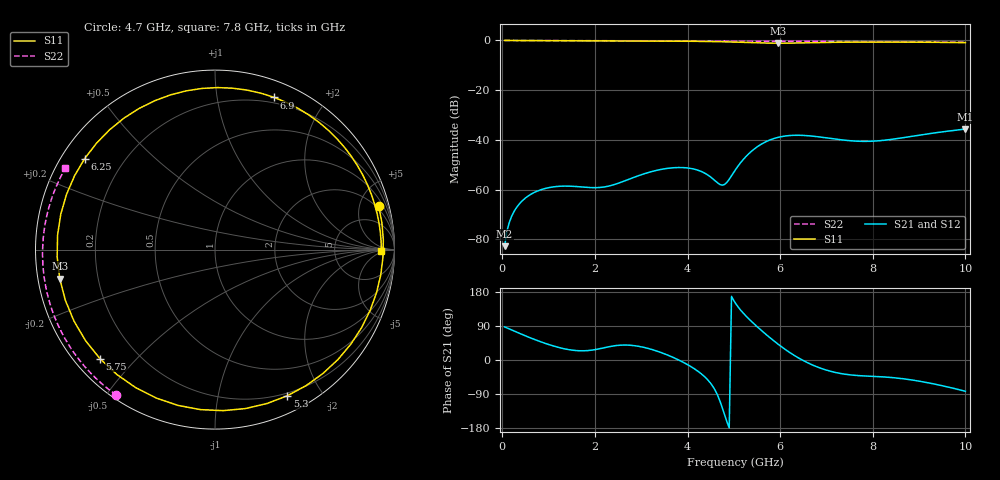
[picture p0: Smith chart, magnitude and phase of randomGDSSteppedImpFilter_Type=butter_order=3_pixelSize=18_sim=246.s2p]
! freq	dB(S11)	phase(S11)	dB(S12)	phase(S12)
!  dB(S21)	phase(S21)	dB(S22)	phase(S22)
!S-par simulation data
#  GHz  S  DB  R 50
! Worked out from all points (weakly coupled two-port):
!   200 points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, 50 MHz to 10 GHz, reference 50 ohm
!   highest |S21| = -35.68 dB at 10 GHz (marker M1); lowest = -82.8 dB at 50 MHz (marker M2)
!   lowest |S11| = -1.1 dB at 5.95 GHz (marker M3), VSWR 15.68, Z = 3.22 - j4.6 ohm
!   |S11| at or under -10 dB: nowhere
!   |S22| runs from -0.7 to 0.0 dB; largest |S21 - S12| = 0
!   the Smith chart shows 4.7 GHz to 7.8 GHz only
!   S11 on the Smith chart (normalised r, x): 4.7 GHz: 1.67, +7.36; 5.3 GHz: 0.17, -1.60; 5.75 GHz: 0.07, -0.40; 6.25 GHz: 0.07, +0.31; 6.9 GHz: 0.15, +1.45; 7.8 GHz: 26, -3
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0.05  -0.00 -4.0  -82.77 87.3  -82.77 87.3  -0.00 -1.4
0.25  -0.03 -19.9  -68.94 76.7  -68.94 76.7  -0.01 -7.1
0.55  -0.06 -43.3  -62.70 61.2  -62.70 61.2  -0.02 -15.5
1.15  -0.10 -87.6  -58.80 35.4  -58.80 35.4  -0.04 -32.2
1.75  -0.14 -128.3  -59.00 24.2  -59.00 24.2  -0.06 -48.5
2.6  -0.18 178.0  -56.80 39.4  -56.80 39.4  -0.09 -71.0
3.4  -0.24 125.8  -51.99 20.9  -51.99 20.9  -0.12 -91.6
4.1  -0.33 72.7  -51.60 -19.4  -51.60 -19.4  -0.15 -109.2
4.7  -0.50 14.7  -57.95 -108.4  -57.95 -108.4  -0.18 -124.1
5.05  -0.67 -28.0  -51.61 147.1  -51.61 147.1  -0.20 -132.9
5.3  -0.83 -63.7  -45.98 111.3  -45.98 111.3  -0.22 -139.1
5.5  -0.96 -95.1  -42.86 88.3  -42.86 88.3  -0.23 -144.2
5.75  -1.08 -136.5  -40.25 61.8  -40.25 61.8  -0.25 -150.6
5.95  -1.11 -169.4  -39.01 42.2  -39.01 42.2  -0.27 -155.8
6.25  -1.06 145.0  -38.20 16.3  -38.20 16.3  -0.29 -163.7
6.7  -0.89 89.1  -38.50 -13.2  -38.50 -13.2  -0.34 -175.9
6.9  -0.82 68.7  -38.93 -22.8  -38.93 -22.8  -0.36 178.5
7.35  -0.71 30.4  -40.04 -36.6  -40.04 -36.6  -0.40 165.4
7.8  -0.66 -0.5  -40.61 -42.0  -40.61 -42.0  -0.45 151.5
8.35  -0.65 -31.5  -39.93 -45.7  -39.93 -45.7  -0.52 133.3
9.15  -0.72 -68.4  -37.70 -59.1  -37.70 -59.1  -0.61 103.9
10  -0.88 -102.3  -35.68 -82.6  -35.68 -82.6  -0.71 69.2
